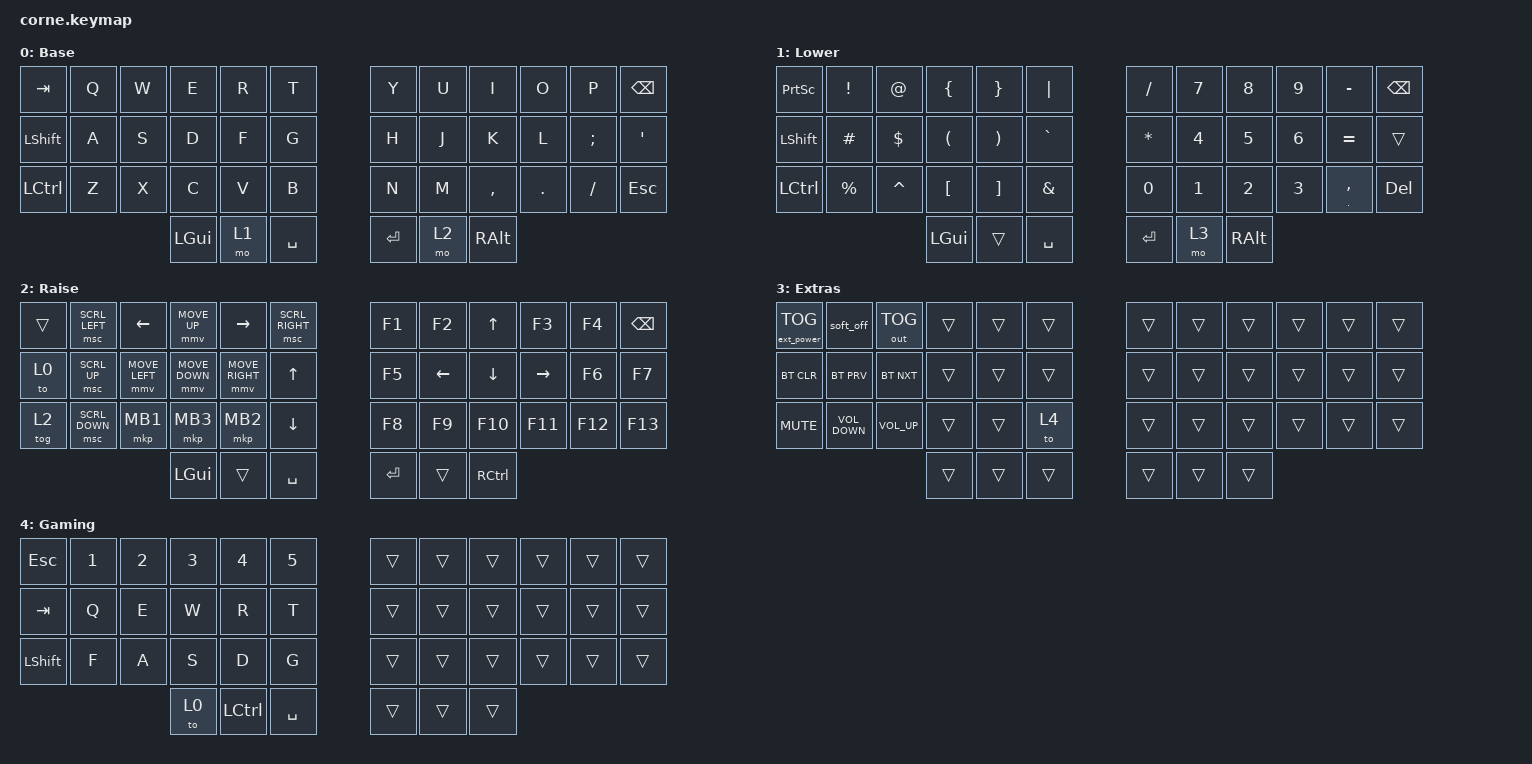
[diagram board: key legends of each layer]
/*
 * Copyright (c) 2020 The ZMK Contributors
 *
 * SPDX-License-Identifier: MIT
 */

#define ZMK_POINTING_DEFAULT_MOVE_VAL 1200  // default: 600
#define ZMK_POINTING_DEFAULT_SCRL_VAL 15    // default: 10

#include <behaviors.dtsi>
#include <dt-bindings/zmk/bt.h>
#include <dt-bindings/zmk/ext_power.h>
#include <dt-bindings/zmk/keys.h>
#include <dt-bindings/zmk/outputs.h>
#include <dt-bindings/zmk/pointing.h>

/* Soft off shutdowns the board.
 * Use reset button to wake the board.
 */

&soft_off {
    hold-time-ms = <5000>; // Only turn off it the key is held for 5 seconds or longer.
};

/* Layer aliases */

#define Base    0
#define Lower   1
#define Raise   2
#define Extras  3
#define Gaming  4

/ {
    keymap {
        compatible = "zmk,keymap";

        default_layer {
            // -----------------------------------------------------------------------------------------
            // |  TAB |  Q  |  W  |  E  |  R  |  T  |   |  Y  |  U   |  I  |  O  |  P  | BKSP |
            // | SHFT |  A  |  S  |  D  |  F  |  G  |   |  H  |  J   |  K  |  L  |  ;  |  '   |
            // | CTRL |  Z  |  X  |  C  |  V  |  B  |   |  N  |  M   |  ,  |  .  |  /  | ESC  |
            //                    | GUI | LWR | SPC |   | ENT | RSE  | ALT |

            display-name = "Base";
            bindings = <
&kp TAB           &kp Q  &kp W  &kp E     &kp R  &kp T        &kp Y    &kp U  &kp I      &kp O    &kp P     &kp BSPC
&kp LEFT_SHIFT    &kp A  &kp S  &kp D     &kp F  &kp G        &kp H    &kp J  &kp K      &kp L    &kp SEMI  &kp SQT
&kp LEFT_CONTROL  &kp Z  &kp X  &kp C     &kp V  &kp B        &kp N    &kp M  &kp COMMA  &kp DOT  &kp FSLH  &kp ESC
                                &kp LGUI  &mo 1  &kp SPACE    &kp RET  &mo 2  &kp RALT
            >;
        };

        lower_layer {
            // -----------------------------------------------------------------------------------------
            // |  TAB |  1  |  2  |  3  |  4  |  5  |   |  6  |  7  |  8  |  9  |  0  | BKSP |
            // | BTCLR| BT1 | BT2 | BT3 | BT4 | BT5 |   | LFT | DWN |  UP | RGT |     |      |
            // | SHFT |     |     |     |     |     |   |     |     |     |     |     |      |
            //                    | GUI |     | SPC |   | ENT |     | ALT |

            display-name = "Lower";
            bindings = <
&kp PRINTSCREEN   &kp EXCLAMATION  &kp AT_SIGN  &kp LEFT_BRACE        &kp RIGHT_BRACE        &kp PIPE         &kp SLASH  &kp N7  &kp N8         &kp N9  &kp MINUS         &kp BSPC
&kp LEFT_SHIFT    &kp HASH         &kp DOLLAR   &kp LEFT_PARENTHESIS  &kp RIGHT_PARENTHESIS  &kp GRAVE        &kp STAR   &kp N4  &kp N5         &kp N6  &kp EQUAL         &trans
&kp LEFT_CONTROL  &kp PERCENT      &kp CARET    &kp LEFT_BRACKET      &kp RIGHT_BRACKET      &kp AMPERSAND    &kp N0     &kp N1  &kp N2         &kp N3  &mt PERIOD COMMA  &kp DEL
                                                &kp LGUI              &trans                 &kp SPACE        &kp RET    &mo 3   &kp RIGHT_ALT
            >;
        };

        raise_layer {
            // -----------------------------------------------------------------------------------------
            // |  TAB |  !  |  @  |  #  |  $  |  %  |   |  ^  |  &  |  *  |  (  |  )  | BKSP |
            // | CTRL |     |     |     |     |     |   |  -  |  =  |  [  |  ]  |  \  |  `   |
            // | SHFT |     |     |     |     |     |   |  _  |  +  |  {  |  }  | "|" |  ~   |
            //                    | GUI |     | SPC |   | ENT |     | ALT |

            display-name = "Raise";
            bindings = <
&trans  &msc SCRL_LEFT  &kp LEFT        &mmv MOVE_UP    &kp RIGHT        &msc SCRL_RIGHT    &kp F1   &kp F2    &kp UP             &kp F3     &kp F4   &kp BSPC
&to 0   &msc SCRL_UP    &mmv MOVE_LEFT  &mmv MOVE_DOWN  &mmv MOVE_RIGHT  &kp UP             &kp F5   &kp LEFT  &kp DOWN           &kp RIGHT  &kp F6   &kp F7
&tog 2  &msc SCRL_DOWN  &mkp MB1        &mkp MB3        &mkp MB2         &kp DOWN           &kp F8   &kp F9    &kp F10            &kp F11    &kp F12  &kp F13
                                        &kp LGUI        &trans           &kp SPACE          &kp RET  &trans    &kp RIGHT_CONTROL
            >;
        };

        Extras {
            display-name = "Extras";
            bindings = <
&ext_power EP_TOG  &soft_off          &out OUT_TOG     &trans  &trans  &trans    &trans  &trans  &trans  &trans  &trans  &trans
&bt BT_CLR         &bt BT_PRV         &bt BT_NXT       &trans  &trans  &trans    &trans  &trans  &trans  &trans  &trans  &trans
&kp K_MUTE         &kp C_VOLUME_DOWN  &kp C_VOLUME_UP  &trans  &trans  &to 4     &trans  &trans  &trans  &trans  &trans  &trans
                                                       &trans  &trans  &trans    &trans  &trans  &trans
            >;
        };

        Gaming {
            display-name = "Gaming";
            bindings = <
&kp ESC    &kp N1  &kp N2  &kp N3  &kp N4     &kp N5       &trans  &trans  &trans  &trans  &trans  &trans
&kp TAB    &kp Q   &kp E   &kp W   &kp R      &kp T        &trans  &trans  &trans  &trans  &trans  &trans
&kp LSHFT  &kp F   &kp A   &kp S   &kp D      &kp G        &trans  &trans  &trans  &trans  &trans  &trans
                           &to 0   &kp LCTRL  &kp SPACE    &trans  &trans  &trans
            >;
        };
    };
};
